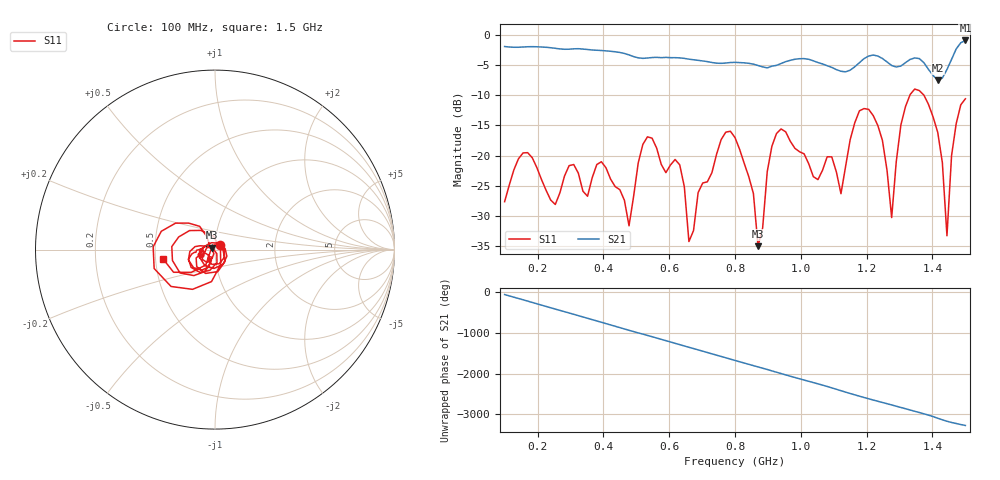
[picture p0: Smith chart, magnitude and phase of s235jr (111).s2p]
! NanoVNA-App
! Date: 2025-09-26 09:45:39
! Start: 100MHz Stop: 1,5GHz Points: 101
! S-Parameter data: F S11 S21 S12 S22
# Hz S RI R 50
!  Frequency  S11_Real  S11_Imag  S21_Real  S21_Imag  S12_Real  S12_Imag  S22_Real  S22_Imag
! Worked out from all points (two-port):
!   101 points, 100 MHz to 1.5 GHz, reference 50 ohm
!   highest |S21| = -0.94 dB at 1.5 GHz (marker M1); lowest = -7.6 dB at 1.416 GHz (marker M2)
!   |S21| within 3 dB of the highest: start of sweep to 649.5 MHz; 1.192 GHz to 1.248 GHz (55.97 MHz wide, 4.59 % of centre) (the widest 2 of 4)
!   lowest |S11| = -35.0 dB at 870 MHz (marker M3), VSWR 1.04, Z = 48.5 + j0.976 ohm
!   |S11| at or under -10 dB: start of sweep to 1.331 GHz; 1.374 GHz to end of sweep
!   S12 and S22 are empty: the file has one direction only
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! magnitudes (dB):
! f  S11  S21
! 100 MHz  -27.6  -2.0
! 156 MHz  -19.6  -2.0
! 338 MHz  -25.9  -2.4
! 394 MHz  -21.0  -2.6
! 478 MHz  -31.6  -3.3
! 520 MHz  -18.2  -3.9
! 576 MHz  -21.5  -3.8
! 632 MHz  -21.5  -3.8
! 660 MHz  -34.2  -4.0
! 800 MHz  -17.0  -4.6
! 870 MHz  -35.0  -5.1
! 926 MHz  -16.4  -5.1
! 1.038 GHz  -23.5  -4.3
! 1.122 GHz  -26.3  -6.0
! 1.206 GHz  -12.3  -3.5
! 1.248 GHz  -17.5  -3.9
! 1.276 GHz  -30.3  -5.1
! 1.332 GHz  -9.9  -4.1
! 1.416 GHz  -16.2  -7.6
! 1.444 GHz  -33.3  -5.8
! 1.458 GHz  -20.0  -4.1
! 1.5 GHz  -10.6  -0.9
